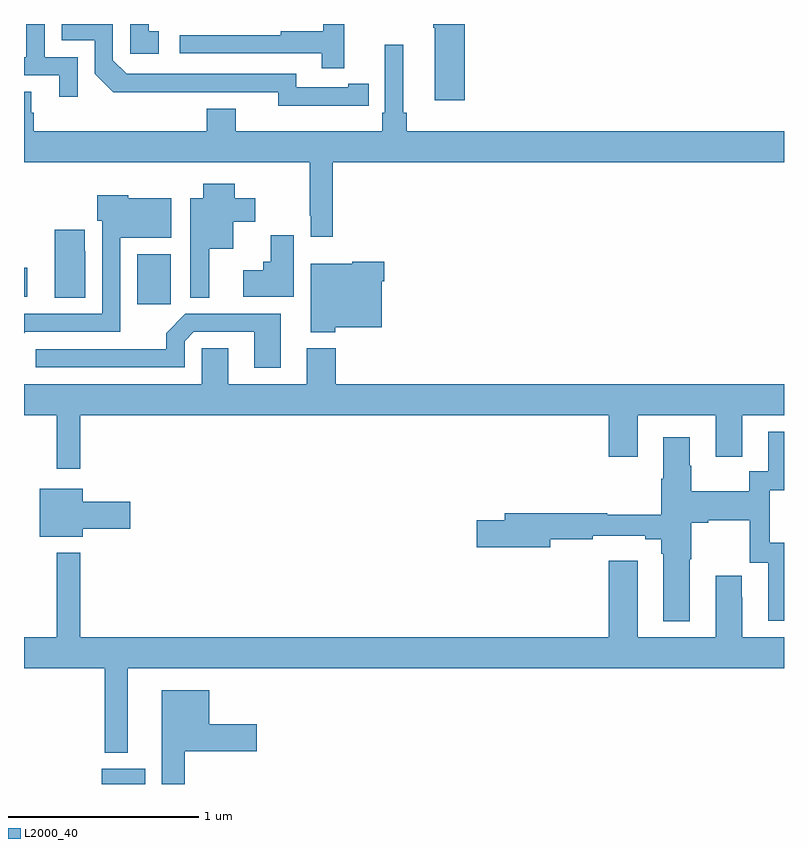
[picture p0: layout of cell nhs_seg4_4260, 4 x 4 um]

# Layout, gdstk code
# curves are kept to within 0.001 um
import gdstk
lib = gdstk.Library(unit=1e-6, precision=1e-09)
def R(c, l, rs):  # rectangles x0, y0, x1, y1
    for r in rs: c.add(gdstk.rectangle(r[:2], r[2:], *l))
def P(c, l, *ps):  # polygons
    for p in ps: c.add(gdstk.Polygon(p, *l))
L2000_40 = (2000, 40)

nhs_seg4_4260 = lib.new_cell('nhs_seg4_4260')
R(nhs_seg4_4260, L2000_40, [(339.41,774.9,339.637,774.979), (339.596,777.425,339.772,777.688), (339,777.464,339.016,777.616)])
P(nhs_seg4_4260, L2000_40, [(339.709,778.863),(339.656,778.863),(339.656,778.9),(339.558,778.9),(339.558,778.743),(339.709,778.743)],
  [(341.321,778.9),(341.155,778.9),(341.155,778.879),(341.162,778.879),(341.162,778.5),(341.321,778.5)],
  [(339.282,778.725),(339.108,778.725),(339.108,778.9),(339.012,778.9),(339.012,778.725),(339,778.725),(339,778.629),(339.185,778.629),(339.185,778.518),(339.282,778.518)],
  [(340.685,778.9),(340.575,778.9),(340.575,778.862),(340.351,778.862),(340.351,778.842),(339.819,778.842),(339.819,778.746),(340.567,778.746),(340.567,778.668),(340.685,778.668)],
  [(340.706,778.47),(340.814,778.47),(340.814,778.586),(340.706,778.586),(340.706,778.566),(340.434,778.566),(340.434,778.638),(339.54,778.638),(339.468,778.71),(339.468,778.9),(339.198,778.9),(339.198,778.815),(339.372,778.815),(339.372,778.638),(339.47,778.541),(340.338,778.542),(340.338,778.469)],
  [(340.625,778.172),(343,778.172),(343,778.336),(341.015,778.336),(341.015,778.432),(340.996,778.432),(340.996,778.792),(340.899,778.792),(340.899,778.432),(340.886,778.432),(340.886,778.336),(340.114,778.336),(340.114,778.453),(339.962,778.453),(339.962,778.336),(339.05,778.336),(339.05,778.434),(339.037,778.434),(339.037,778.544),(339,778.544),(339,778.172),(340.504,778.172),(340.504,777.892),(340.509,777.892),(340.509,777.78),(340.625,777.78)],
  [(339.974,777.716),(340.102,777.716),(340.102,777.86),(340.216,777.86),(340.216,777.982),(340.11,777.982),(340.11,778.06),(339.944,778.06),(339.944,777.982),(339.876,777.982),(339.876,777.46),(339.974,777.46)],
  [(339.006,777.279),(339.507,777.279),(339.507,777.776),(339.775,777.776),(339.775,777.982),(339.549,777.982),(339.549,778),(339.386,778),(339.386,777.864),(339.411,777.864),(339.411,777.375),(339,777.375),(339,777.273)],
  [(339.322,777.704),(339.321,777.704),(339.321,777.817),(339.161,777.817),(339.161,777.46),(339.322,777.46)],
  [(340.42,777.787),(340.298,777.787),(340.298,777.649),(340.259,777.649),(340.259,777.604),(340.155,777.604),(340.155,777.464),(340.42,777.464)],
  [(340.638,777.305),(340.882,777.305),(340.882,777.545),(340.895,777.545),(340.895,777.649),(340.728,777.649),(340.728,777.637),(340.508,777.637),(340.508,777.278),(340.638,777.278)],
  [(340.351,777.375),(339.849,777.375),(339.748,777.273),(339.748,777.189),(339.063,777.189),(339.063,777.093),(339.846,777.093),(339.846,777.231),(339.894,777.279),(340.211,777.279),(340.211,777.09),(340.351,777.09)],
  [(339.295,776.84),(342.077,776.84),(342.077,776.622),(342.229,776.622),(342.229,776.84),(342.641,776.84),(342.641,776.622),(342.781,776.622),(342.781,776.84),(343,776.84),(343,777.004),(340.64,777.004),(340.64,777.193),(340.487,777.193),(340.487,777.004),(340.075,777.004),(340.075,777.194),(339.936,777.194),(339.936,777.004),(339,777.004),(339,776.84),(339.173,776.84),(339.173,776.559),(339.295,776.559)],
  [(342.505,776.083),(342.513,776.083),(342.513,776.276),(342.601,776.276),(342.601,776.288),(342.821,776.288),(342.821,776.064),(342.917,776.064),(342.917,775.758),(343,775.758),(343,776.169),(342.924,776.169),(342.924,776.445),(343,776.445),(343,776.755),(342.917,776.755),(342.917,776.546),(342.816,776.546),(342.816,776.44),(342.513,776.44),(342.513,776.574),(342.505,776.574),(342.505,776.725),(342.365,776.725),(342.365,776.507),(342.353,776.507),(342.353,776.317),(342.069,776.317),(342.069,776.324),(341.531,776.324),(341.531,776.288),(341.382,776.288),(341.382,776.146),(341.77,776.146),(341.77,776.188),(341.993,776.188),(341.993,776.207),(342.269,776.207),(342.269,776.188),(342.353,776.188),(342.353,776.111),(342.365,776.111),(342.365,775.757),(342.505,775.757)],
  [(339.31,776.243),(339.559,776.243),(339.559,776.385),(339.31,776.385),(339.31,776.455),(339.083,776.455),(339.083,776.201),(339.31,776.201)],
  [(343,775.672),(342.781,775.672),(342.781,775.883),(342.778,775.883),(342.778,775.996),(342.641,775.996),(342.641,775.672),(342.229,775.672),(342.229,776.074),(342.077,776.074),(342.077,775.672),(339.295,775.672),(339.295,776.116),(339.173,776.116),(339.173,775.672),(339,775.672),(339,775.508),(339.426,775.508),(339.426,775.064),(339.547,775.064),(339.547,775.508),(343,775.508)],
  [(339.847,775.073),(340.225,775.073),(340.225,775.215),(339.976,775.215),(339.976,775.393),(339.725,775.393),(339.725,774.9),(339.847,774.9)])

lib.write_gds('nhs_seg4_4260.gds')
